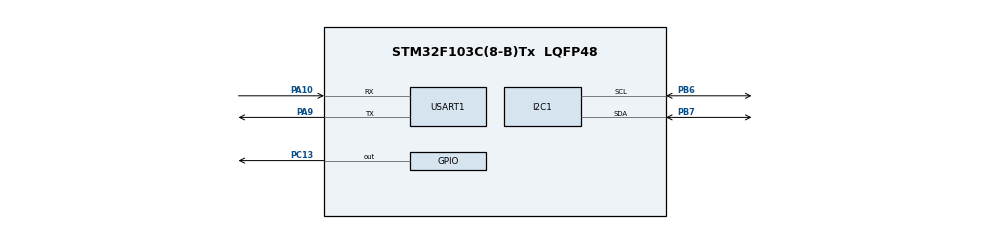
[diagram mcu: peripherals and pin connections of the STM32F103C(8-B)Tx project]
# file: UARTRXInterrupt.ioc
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Mcu.Family=STM32F1
Mcu.Name=STM32F103C(8-B)Tx
Mcu.Package=LQFP48
NVIC.PriorityGroup=NVIC_PRIORITYGROUP_4
NVIC.USART1_IRQn=true\:0\:0\:false\:false\:true\:true\:true\:true
PA10.Mode=Asynchronous
PA10.Signal=USART1_RX
PA13.Mode=Serial_Wire
PA13.Signal=SYS_JTMS-SWDIO
PA14.Mode=Serial_Wire
PA14.Signal=SYS_JTCK-SWCLK
PA9.Mode=Asynchronous
PA9.Signal=USART1_TX
PB6.Mode=I2C
PB6.Signal=I2C1_SCL
PB7.Mode=I2C
PB7.Signal=I2C1_SDA
PC13-TAMPER-RTC.GPIO_ModeDefaultOutputPP=GPIO_MODE_OUTPUT_OD
PC13-TAMPER-RTC.GPIO_PuPd=GPIO_NOPULL
PC13-TAMPER-RTC.PinState=GPIO_PIN_SET
PC13-TAMPER-RTC.Signal=GPIO_Output
ProjectManager.HeapSize=0x200
ProjectManager.StackSize=0x400
ProjectManager.TargetToolchain=MDK-ARM V5.32
RCC.APB1Freq_Value=8000000
RCC.APB2Freq_Value=8000000
USART1.VirtualMode=VM_ASYNC
board=custom

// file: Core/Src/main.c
/* USER CODE BEGIN Header */
/**
  ******************************************************************************
  * @file           : main.c
  * @brief          : Main program body
  ******************************************************************************
  * @attention
  *
  * Copyright (c) 2025 STMicroelectronics.
  * All rights reserved.
  *
  * This software is licensed under terms that can be found in the LICENSE file
  * in the root directory of this software component.
  * If no LICENSE file comes with this software, it is provided AS-IS.
  *
  ******************************************************************************
  */
/* USER CODE END Header */
#include "main.h"

I2C_HandleTypeDef hi2c1;

UART_HandleTypeDef huart1;

/* USER CODE BEGIN PV */
static uint32_t blinkInterval = 1000;
static uint8_t dataRcvd;
/* USER CODE END PV */

void SystemClock_Config(void);
static void MX_GPIO_Init(void);
static void MX_I2C1_Init(void);
static void MX_USART1_UART_Init(void);

/* USER CODE BEGIN 0 */
void HAL_UART_RxCpltCallback(UART_HandleTypeDef *huart){

	if(huart == &huart1){

		if(dataRcvd == '1'){

			blinkInterval = 1000;
		}
		if(dataRcvd == '2'){

			blinkInterval = 300;
		}
		if(dataRcvd == '3'){

			blinkInterval = 50;
		}
	}

	HAL_UART_Receive_IT(&huart1, &dataRcvd, 1);
}
/* USER CODE END 0 */

int main(void)
{

  /* MCU Configuration--------------------------------------------------------*/

  /* Reset of all peripherals, Initializes the Flash interface and the Systick. */
  HAL_Init();

  /* Configure the system clock */
  SystemClock_Config();

  /* Initialize all configured peripherals */
  MX_GPIO_Init();
  MX_I2C1_Init();
  MX_USART1_UART_Init();

  /* Infinite loop */
  /* USER CODE BEGIN WHILE */
	HAL_UART_Receive_IT(&huart1, &dataRcvd, 1);
  while (1)
  {

		HAL_GPIO_WritePin(GPIOC, GPIO_PIN_13, GPIO_PIN_RESET);

		HAL_Delay(blinkInterval);

		HAL_GPIO_WritePin(GPIOC, GPIO_PIN_13, GPIO_PIN_SET);

		HAL_Delay(blinkInterval);
    /* USER CODE END WHILE */

  }
}

void SystemClock_Config(void)
{
  RCC_OscInitTypeDef RCC_OscInitStruct = {0};
  RCC_ClkInitTypeDef RCC_ClkInitStruct = {0};

  /** Initializes the RCC Oscillators according to the specified parameters
  * in the RCC_OscInitTypeDef structure.
  */
  RCC_OscInitStruct.OscillatorType = RCC_OSCILLATORTYPE_HSI;
  RCC_OscInitStruct.HSIState = RCC_HSI_ON;
  RCC_OscInitStruct.HSICalibrationValue = RCC_HSICALIBRATION_DEFAULT;
  RCC_OscInitStruct.PLL.PLLState = RCC_PLL_NONE;
  if (HAL_RCC_OscConfig(&RCC_OscInitStruct) != HAL_OK)
  {
    Error_Handler();
  }

  /** Initializes the CPU, AHB and APB buses clocks
  */
  RCC_ClkInitStruct.ClockType = RCC_CLOCKTYPE_HCLK|RCC_CLOCKTYPE_SYSCLK
                              |RCC_CLOCKTYPE_PCLK1|RCC_CLOCKTYPE_PCLK2;
  RCC_ClkInitStruct.SYSCLKSource = RCC_SYSCLKSOURCE_HSI;
  RCC_ClkInitStruct.AHBCLKDivider = RCC_SYSCLK_DIV1;
  RCC_ClkInitStruct.APB1CLKDivider = RCC_HCLK_DIV1;
  RCC_ClkInitStruct.APB2CLKDivider = RCC_HCLK_DIV1;

  if (HAL_RCC_ClockConfig(&RCC_ClkInitStruct, FLASH_LATENCY_0) != HAL_OK)
  {
    Error_Handler();
  }
}

static void MX_I2C1_Init(void)
{

  hi2c1.Instance = I2C1;
  hi2c1.Init.ClockSpeed = 100000;
  hi2c1.Init.DutyCycle = I2C_DUTYCYCLE_2;
  hi2c1.Init.OwnAddress1 = 0;
  hi2c1.Init.AddressingMode = I2C_ADDRESSINGMODE_7BIT;
  hi2c1.Init.DualAddressMode = I2C_DUALADDRESS_DISABLE;
  hi2c1.Init.OwnAddress2 = 0;
  hi2c1.Init.GeneralCallMode = I2C_GENERALCALL_DISABLE;
  hi2c1.Init.NoStretchMode = I2C_NOSTRETCH_DISABLE;
  if (HAL_I2C_Init(&hi2c1) != HAL_OK)
  {
    Error_Handler();
  }

}

static void MX_USART1_UART_Init(void)
{

  huart1.Instance = USART1;
  huart1.Init.BaudRate = 115200;
  huart1.Init.WordLength = UART_WORDLENGTH_8B;
  huart1.Init.StopBits = UART_STOPBITS_1;
  huart1.Init.Parity = UART_PARITY_NONE;
  huart1.Init.Mode = UART_MODE_TX_RX;
  huart1.Init.HwFlowCtl = UART_HWCONTROL_NONE;
  huart1.Init.OverSampling = UART_OVERSAMPLING_16;
  if (HAL_UART_Init(&huart1) != HAL_OK)
  {
    Error_Handler();
  }

}

static void MX_GPIO_Init(void)
{
  GPIO_InitTypeDef GPIO_InitStruct = {0};

  /* GPIO Ports Clock Enable */
  __HAL_RCC_GPIOC_CLK_ENABLE();
  __HAL_RCC_GPIOA_CLK_ENABLE();
  __HAL_RCC_GPIOB_CLK_ENABLE();

  /*Configure GPIO pin Output Level */
  HAL_GPIO_WritePin(GPIOC, GPIO_PIN_13, GPIO_PIN_SET);

  /*Configure GPIO pin : PC13 */
  GPIO_InitStruct.Pin = GPIO_PIN_13;
  GPIO_InitStruct.Mode = GPIO_MODE_OUTPUT_OD;
  GPIO_InitStruct.Pull = GPIO_NOPULL;
  GPIO_InitStruct.Speed = GPIO_SPEED_FREQ_LOW;
  HAL_GPIO_Init(GPIOC, &GPIO_InitStruct);

}

void Error_Handler(void)
{
  __disable_irq();
  while (1)
  {
  }
}
